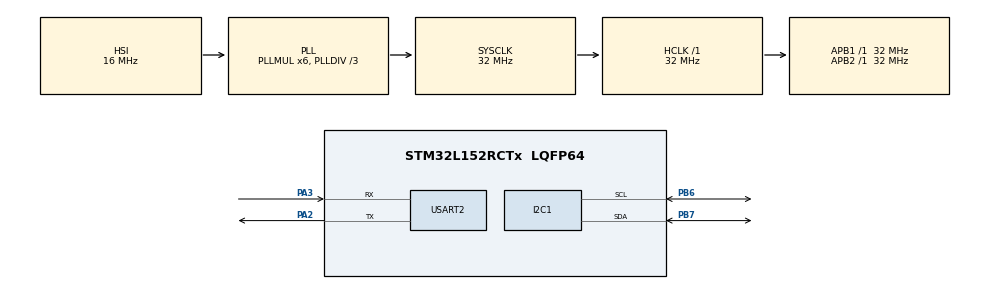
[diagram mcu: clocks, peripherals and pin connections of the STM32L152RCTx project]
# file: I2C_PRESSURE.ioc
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Mcu.Family=STM32L1
Mcu.Name=STM32L152RCTx
Mcu.Package=LQFP64
NVIC.PriorityGroup=NVIC_PRIORITYGROUP_0
NVIC.RTC_Alarm_IRQn=true\:0\:0\:false\:false\:true\:true\:true\:true
PA13.Mode=Serial_Wire
PA13.Signal=SYS_JTMS-SWDIO
PA14.Mode=Serial_Wire
PA14.Signal=SYS_JTCK-SWCLK
PA2.Mode=Asynchronous
PA2.Signal=USART2_TX
PA3.Mode=Asynchronous
PA3.Signal=USART2_RX
PB6.Mode=I2C
PB6.Signal=I2C1_SCL
PB7.Mode=I2C
PB7.Signal=I2C1_SDA
PC14-OSC32_IN.Mode=LSE-External-Oscillator
PC14-OSC32_IN.Signal=RCC_OSC32_IN
PC15-OSC32_OUT.Mode=LSE-External-Oscillator
PC15-OSC32_OUT.Signal=RCC_OSC32_OUT
PH0-OSC_IN.Mode=HSE-External-Oscillator
PH0-OSC_IN.Signal=RCC_OSC_IN
PH1-OSC_OUT.Mode=HSE-External-Oscillator
PH1-OSC_OUT.Signal=RCC_OSC_OUT
ProjectManager.HeapSize=0x200
ProjectManager.StackSize=0x400
ProjectManager.TargetToolchain=STM32CubeIDE
RCC.48MHZClocksFreq_Value=48000000
RCC.AHBFreq_Value=32000000
RCC.APB1Freq_Value=32000000
RCC.APB1TimFreq_Value=32000000
RCC.APB2Freq_Value=32000000
RCC.APB2TimFreq_Value=32000000
RCC.HCLKFreq_Value=32000000
RCC.HSE_VALUE=8000000
RCC.HSI_VALUE=16000000
RCC.MSI_VALUE=2097000
RCC.PLLDIV=RCC_PLL_DIV3
RCC.PLLMUL=RCC_PLL_MUL6
RCC.RTCClockSelectionVirtual=RCC_RTCCLKSOURCE_LSE
RCC.SYSCLKFreq_VALUE=32000000
RCC.SYSCLKSource=RCC_SYSCLKSOURCE_PLLCLK
RCC.USBOutput=48000000
RCC.VCOOutputFreq_Value=96000000
RTC.Alarm-Alarm\ A=RTC_ALARM_A
RTC.AlarmMaskMinutes-Alarm\ A=RTC_ALARMMASK_MINUTES
RTC.Hours=10
RTC.Hours_A-Alarm\ A=10
RTC.Minutes=20
RTC.Minutes_A-Alarm\ A=20
RTC.Month=RTC_MONTH_MARCH
RTC.Seconds=45
RTC.Seconds_A-Alarm\ A=55
RTC.Year=23
USART2.VirtualMode=VM_ASYNC
VP_RTC_VS_RTC_Activate.Mode=RTC_Enabled
VP_RTC_VS_RTC_Alarm_A_Intern.Mode=Alarm A
VP_RTC_VS_RTC_Calendar.Mode=RTC_Calendar
board=STM32L152C-DISCO

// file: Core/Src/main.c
/* USER CODE BEGIN Header */
/**
  ******************************************************************************
  * @file           : main.c
  * @brief          : Main program body
  ******************************************************************************
  * @attention
  *
  * Copyright (c) 2023 STMicroelectronics.
  * All rights reserved.
  *
  * This software is licensed under terms that can be found in the LICENSE file
  * in the root directory of this software component.
  * If no LICENSE file comes with this software, it is provided AS-IS.
  *
  ******************************************************************************
  */
/* USER CODE END Header */
#include "main.h"

/* USER CODE BEGIN Includes */
#include "lps22hb_reg.h"
#define SENSOR_BUS hi2c1
#include "stdio.h"
#include "string.h"

/* USER CODE END Includes */

I2C_HandleTypeDef hi2c1;

RTC_HandleTypeDef hrtc;

UART_HandleTypeDef huart2;

/* USER CODE BEGIN PV */

uint8_t date[30];
uint8_t time[30];

RTC_TimeTypeDef sTime;
RTC_DateTypeDef sDate;

/* USER CODE END PV */

void SystemClock_Config(void);
static void MX_GPIO_Init(void);
static void MX_I2C1_Init(void);
static void MX_USART2_UART_Init(void);
static void MX_RTC_Init(void);

/* USER CODE BEGIN 0 */

static uint32_t data_raw_pressure;
//static int16_t data_raw_temperature;
static float pressure_hPa;
//static float temperature_degC;
static uint8_t whoamI, rst;
static uint8_t tx_buffer[1000];
static stmdev_ctx_t dev_ctx;

void lps22hb_read_data_polling(void);

/* USER CODE END 0 */

int main(void)
{

  /* MCU Configuration--------------------------------------------------------*/

  /* Reset of all peripherals, Initializes the Flash interface and the Systick. */
  HAL_Init();

  /* Configure the system clock */
  SystemClock_Config();

  /* Initialize all configured peripherals */
  MX_GPIO_Init();
  MX_I2C1_Init();
  MX_USART2_UART_Init();
  MX_RTC_Init();
  /* USER CODE BEGIN 2 */

//  HAL_StatusTypeDef result;
//    	uint8_t i;
//    	for (i=1; i<128; i++)
//    	{
//    	  /*
//    	   * the HAL wants a left aligned i2c address
//    	   * &hi2c1 is the handle
//    	   * (uint16_t)(i<<1) is the i2c address left aligned
//    	   * retries 2
//    	   * timeout 2
//    	   */
//    	  result = HAL_I2C_IsDeviceReady(&hi2c1, (uint16_t)(i<<1), 2, 2);
//    	  if (result != HAL_OK) // HAL_ERROR or HAL_BUSY or HAL_TIMEOUT
//    	  {
//    		  printf("."); // No ACK received at that address
//    	  }
//    	  if (result == HAL_OK)
//    	  {
//    		  printf("0x%X\r\n", i<<1); // Received an ACK at that address
//    	  }
//    	}
//    	printf("\r\n");

  /* USER CODE END 2 */

  /* Infinite loop */
  while (1)
  {

    /* USER CODE BEGIN 3 */
	  HAL_RTC_GetTime(&hrtc, &sTime, RTC_FORMAT_BIN);
	  HAL_RTC_GetDate(&hrtc, &sDate, RTC_FORMAT_BIN);

	  	  sprintf(date,"Date: %02d.%02d.%02d\t",sDate.Date,sDate.Month,sDate.Year);
	  	  sprintf(time,"Time: %02d.%02d.%02d\r\n",sTime.Hours,sTime.Minutes,sTime.Seconds);

	  	  HAL_UART_Transmit(&huart2, (uint8_t *)date, sizeof(date), 300);
	  	  HAL_UART_Transmit(&huart2, (uint8_t *)time, sizeof(time), 300);
	  	  HAL_Delay(1000);

  }
  /* USER CODE END 3 */
}

void SystemClock_Config(void)
{
  RCC_OscInitTypeDef RCC_OscInitStruct = {0};
  RCC_ClkInitTypeDef RCC_ClkInitStruct = {0};
  RCC_PeriphCLKInitTypeDef PeriphClkInit = {0};

  /** Configure the main internal regulator output voltage
  */
  __HAL_PWR_VOLTAGESCALING_CONFIG(PWR_REGULATOR_VOLTAGE_SCALE1);

  /** Initializes the RCC Oscillators according to the specified parameters
  * in the RCC_OscInitTypeDef structure.
  */
  RCC_OscInitStruct.OscillatorType = RCC_OSCILLATORTYPE_HSI|RCC_OSCILLATORTYPE_LSE;
  RCC_OscInitStruct.LSEState = RCC_LSE_ON;
  RCC_OscInitStruct.HSIState = RCC_HSI_ON;
  RCC_OscInitStruct.HSICalibrationValue = RCC_HSICALIBRATION_DEFAULT;
  RCC_OscInitStruct.PLL.PLLState = RCC_PLL_ON;
  RCC_OscInitStruct.PLL.PLLSource = RCC_PLLSOURCE_HSI;
  RCC_OscInitStruct.PLL.PLLMUL = RCC_PLL_MUL6;
  RCC_OscInitStruct.PLL.PLLDIV = RCC_PLL_DIV3;
  if (HAL_RCC_OscConfig(&RCC_OscInitStruct) != HAL_OK)
  {
    Error_Handler();
  }

  /** Initializes the CPU, AHB and APB buses clocks
  */
  RCC_ClkInitStruct.ClockType = RCC_CLOCKTYPE_HCLK|RCC_CLOCKTYPE_SYSCLK
                              |RCC_CLOCKTYPE_PCLK1|RCC_CLOCKTYPE_PCLK2;
  RCC_ClkInitStruct.SYSCLKSource = RCC_SYSCLKSOURCE_PLLCLK;
  RCC_ClkInitStruct.AHBCLKDivider = RCC_SYSCLK_DIV1;
  RCC_ClkInitStruct.APB1CLKDivider = RCC_HCLK_DIV1;
  RCC_ClkInitStruct.APB2CLKDivider = RCC_HCLK_DIV1;

  if (HAL_RCC_ClockConfig(&RCC_ClkInitStruct, FLASH_LATENCY_1) != HAL_OK)
  {
    Error_Handler();
  }
  PeriphClkInit.PeriphClockSelection = RCC_PERIPHCLK_RTC;
  PeriphClkInit.RTCClockSelection = RCC_RTCCLKSOURCE_LSE;
  if (HAL_RCCEx_PeriphCLKConfig(&PeriphClkInit) != HAL_OK)
  {
    Error_Handler();
  }
}

static void MX_I2C1_Init(void)
{

  hi2c1.Instance = I2C1;
  hi2c1.Init.ClockSpeed = 100000;
  hi2c1.Init.DutyCycle = I2C_DUTYCYCLE_2;
  hi2c1.Init.OwnAddress1 = 0;
  hi2c1.Init.AddressingMode = I2C_ADDRESSINGMODE_7BIT;
  hi2c1.Init.DualAddressMode = I2C_DUALADDRESS_DISABLE;
  hi2c1.Init.OwnAddress2 = 0;
  hi2c1.Init.GeneralCallMode = I2C_GENERALCALL_DISABLE;
  hi2c1.Init.NoStretchMode = I2C_NOSTRETCH_DISABLE;
  if (HAL_I2C_Init(&hi2c1) != HAL_OK)
  {
    Error_Handler();
  }

}

static void MX_RTC_Init(void)
{

  RTC_TimeTypeDef sTime = {0};
  RTC_DateTypeDef sDate = {0};
  RTC_AlarmTypeDef sAlarm = {0};

  /** Initialize RTC Only
  */
  hrtc.Instance = RTC;
  hrtc.Init.HourFormat = RTC_HOURFORMAT_24;
  hrtc.Init.AsynchPrediv = 127;
  hrtc.Init.SynchPrediv = 255;
  hrtc.Init.OutPut = RTC_OUTPUT_DISABLE;
  hrtc.Init.OutPutPolarity = RTC_OUTPUT_POLARITY_HIGH;
  hrtc.Init.OutPutType = RTC_OUTPUT_TYPE_OPENDRAIN;
  if (HAL_RTC_Init(&hrtc) != HAL_OK)
  {
    Error_Handler();
  }

  /** Initialize RTC and set the Time and Date
  */
  sTime.Hours = 0x10;
  sTime.Minutes = 0x20;
  sTime.Seconds = 0x45;
  sTime.DayLightSaving = RTC_DAYLIGHTSAVING_NONE;
  sTime.StoreOperation = RTC_STOREOPERATION_RESET;
  if (HAL_RTC_SetTime(&hrtc, &sTime, RTC_FORMAT_BCD) != HAL_OK)
  {
    Error_Handler();
  }
  sDate.WeekDay = RTC_WEEKDAY_MONDAY;
  sDate.Month = RTC_MONTH_MARCH;
  sDate.Date = 0x1;
  sDate.Year = 0x23;

  if (HAL_RTC_SetDate(&hrtc, &sDate, RTC_FORMAT_BCD) != HAL_OK)
  {
    Error_Handler();
  }

  /** Enable the Alarm A
  */
  sAlarm.AlarmTime.Hours = 0x10;
  sAlarm.AlarmTime.Minutes = 0x20;
  sAlarm.AlarmTime.Seconds = 0x55;
  sAlarm.AlarmTime.SubSeconds = 0x0;
  sAlarm.AlarmTime.DayLightSaving = RTC_DAYLIGHTSAVING_NONE;
  sAlarm.AlarmTime.StoreOperation = RTC_STOREOPERATION_RESET;
  sAlarm.AlarmMask = RTC_ALARMMASK_MINUTES;
  sAlarm.AlarmSubSecondMask = RTC_ALARMSUBSECONDMASK_ALL;
  sAlarm.AlarmDateWeekDaySel = RTC_ALARMDATEWEEKDAYSEL_DATE;
  sAlarm.AlarmDateWeekDay = 0x1;
  sAlarm.Alarm = RTC_ALARM_A;
  if (HAL_RTC_SetAlarm_IT(&hrtc, &sAlarm, RTC_FORMAT_BCD) != HAL_OK)
  {
    Error_Handler();
  }

}

static void MX_USART2_UART_Init(void)
{

  huart2.Instance = USART2;
  huart2.Init.BaudRate = 115200;
  huart2.Init.WordLength = UART_WORDLENGTH_8B;
  huart2.Init.StopBits = UART_STOPBITS_1;
  huart2.Init.Parity = UART_PARITY_NONE;
  huart2.Init.Mode = UART_MODE_TX_RX;
  huart2.Init.HwFlowCtl = UART_HWCONTROL_NONE;
  huart2.Init.OverSampling = UART_OVERSAMPLING_16;
  if (HAL_UART_Init(&huart2) != HAL_OK)
  {
    Error_Handler();
  }

}

static void MX_GPIO_Init(void)
{

  /* GPIO Ports Clock Enable */
  __HAL_RCC_GPIOC_CLK_ENABLE();
  __HAL_RCC_GPIOH_CLK_ENABLE();
  __HAL_RCC_GPIOA_CLK_ENABLE();
  __HAL_RCC_GPIOB_CLK_ENABLE();

}

/* USER CODE BEGIN 4 */
//
static int32_t platform_write(void *handle, uint8_t reg, const uint8_t *bufp,
                              uint16_t len){
	 HAL_I2C_Mem_Write(handle,LPS22HB_I2C_ADD , reg,
	                    I2C_MEMADD_SIZE_8BIT, (uint8_t*) bufp, len, 1000);
}

static int32_t platform_read(void *handle, uint8_t reg, uint8_t *bufp,
                             uint16_t len)
{
	HAL_I2C_Mem_Read(handle,LPS22HB_I2C_ADD , reg,
	                   I2C_MEMADD_SIZE_8BIT, bufp, len, 1000);
}
//
//static void tx_com(uint8_t *tx_buffer, uint16_t len)
//{
//#if defined(NUCLEO_F411RE)
//  HAL_UART_Transmit(&huart2, tx_buffer, len, 1000);
//#elif defined(STEVAL_MKI109V3)
//  CDC_Transmit_FS(tx_buffer, len);
//#elif defined(SPC584B_DIS)
//  sd_lld_write(&SD2, tx_buffer, len);
//#endif
//}
//static void platform_delay(uint32_t ms)
//{
//#if defined(NUCLEO_F411RE) | defined(STEVAL_MKI109V3)
//  HAL_Delay(ms);
//#elif defined(SPC584B_DIS)
//  osalThreadDelayMilliseconds(ms);
//#endif
static void platform_init(void){
#if defined(STEVAL_MKI109V3)
  TIM3->CCR1 = PWM_3V3;
  TIM3->CCR2 = PWM_3V3;
  HAL_TIM_PWM_Start(&htim3, TIM_CHANNEL_1);
  HAL_TIM_PWM_Start(&htim3, TIM_CHANNEL_2);
  platform_delay(1000);
#endif
}

void lps22hb_read_data_polling(void)
{
  /* Initialize mems driver interface */
  dev_ctx.write_reg = platform_write;
  dev_ctx.read_reg = platform_read;
  dev_ctx.handle = &SENSOR_BUS;
  /* Initialize platform specific hardware */
  platform_init();
  /* Check device ID */
  lps22hb_device_id_get(&dev_ctx, &whoamI);

  if (whoamI != LPS22HB_ID) {
    while (1)/* manage here device not found */;
  }

  /* Restore default configuration */
  lps22hb_reset_set(&dev_ctx, PROPERTY_ENABLE);

  do {
    lps22hb_reset_get(&dev_ctx, &rst);
  } while (rst);

  /* Enable Block Data Update */
  //lps22hb_block_data_update_set(&dev_ctx, PROPERTY_ENABLE);
  /* Can be enabled low pass filter on output */
  lps22hb_low_pass_filter_mode_set(&dev_ctx, LPS22HB_LPF_ODR_DIV_2);
  /* Can be set Data-ready signal on INT_DRDY pin */
  //lps22hb_drdy_on_int_set(&dev_ctx, PROPERTY_ENABLE);
  /* Set Output Data Rate */
  lps22hb_data_rate_set(&dev_ctx, LPS22HB_ODR_10_Hz);

  /* Read samples in polling mode (no int) */

    uint8_t reg;
    /* Read output only if new value is available */
    lps22hb_press_data_ready_get(&dev_ctx, &reg);

    if (reg) {
      memset(&data_raw_pressure, 0x00, sizeof(int32_t));
      lps22hb_pressure_raw_get(&dev_ctx, &data_raw_pressure);
      pressure_hPa = lps22hb_from_lsb_to_hpa(data_raw_pressure);
      sprintf((char *)tx_buffer, "pressure [hPa]:%6.2f\r\n", pressure_hPa);
//      tx_com(tx_buffer, strlen((char const *)tx_buffer));
//      memset(&data_raw_temperature, 0x00, sizeof(int16_t));
//      lps22hb_temperature_raw_get(&dev_ctx, &data_raw_temperature);
//      temperature_degC = lps22hb_from_lsb_to_degc(data_raw_temperature);
//      sprintf((char *)tx_buffer, "temperature [degC]:%6.2f\r\n",
//              temperature_degC);
//     atx_com(tx_buffer, strlen((char const *)tx_buffer));
      HAL_UART_Transmit(&huart2,tx_buffer,sizeof(tx_buffer), 1000);
    }

}
void HAL_RTC_AlarmAEventCallback(RTC_HandleTypeDef *hrtc){

	  lps22hb_read_data_polling();

}
/* USER CODE END 4 */

void Error_Handler(void)
{
  __disable_irq();
  while (1)
  {
  }
}
